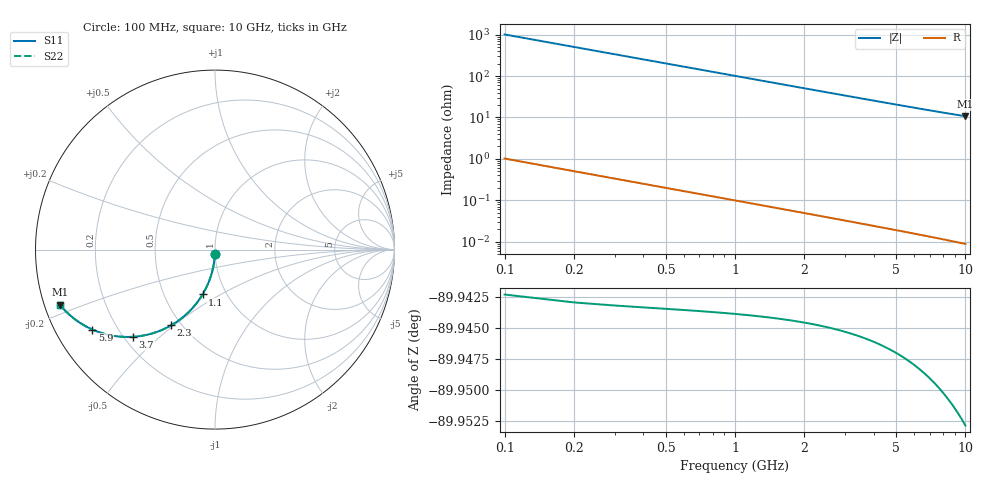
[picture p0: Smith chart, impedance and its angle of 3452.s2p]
# Hz S RI R 50.00
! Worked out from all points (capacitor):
!   100 points, 100 MHz to 10 GHz, reference 50 ohm
!   read as one part in shunt: C = 1.57 pF near 100 MHz
!   lowest |Z| = 10.7 ohm at 10 GHz (marker M1)
!   S11 on the Smith chart (normalised r, x): 100 MHz: 1.00, -0.05; 1.1 GHz: 0.77, -0.41; 2.3 GHz: 0.44, -0.49; 3.7 GHz: 0.24, -0.41; 5.9 GHz: 0.11, -0.29; 10 GHz: 0.04, -0.17
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1e8  -0.000578 -0.0244  0.9993 -0.025  0.9993 -0.025  -0.000578 -0.0244
2e8  -0.00243 -0.0487  0.9975 -0.0499  0.9975 -0.0499  -0.00243 -0.0487
3e8  -0.00548 -0.0728  0.9944 -0.0747  0.9944 -0.0747  -0.00548 -0.0728
4e8  -0.00971 -0.0966  0.9902 -0.0991  0.9902 -0.0991  -0.00971 -0.0966
5e8  -0.0151 -0.1201  0.9848 -0.1233  0.9848 -0.1233  -0.0151 -0.1201
6e8  -0.0216 -0.1432  0.9783 -0.147  0.9783 -0.147  -0.0216 -0.1432
7e8  -0.0292 -0.1657  0.9707 -0.1701  0.9707 -0.1701  -0.0292 -0.1657
9e8  -0.0473 -0.209  0.9526 -0.2147  0.9526 -0.2147  -0.0473 -0.209
1.1e9  -0.069 -0.2496  0.9309 -0.2565  0.9309 -0.2565  -0.069 -0.2496
1.4e9  -0.1071 -0.3045  0.8927 -0.3133  0.8927 -0.3133  -0.1071 -0.3045
1.8e9  -0.1655 -0.3655  0.8343 -0.377  0.8343 -0.377  -0.1655 -0.3655
2.3e9  -0.2447 -0.4222  0.7551 -0.4368  0.7551 -0.4368  -0.2447 -0.4222
2.8e9  -0.3246 -0.4588  0.6752 -0.4767  0.6752 -0.4767  -0.3246 -0.4588
3.4e9  -0.415 -0.4814  0.5847 -0.5031  0.5847 -0.5031  -0.415 -0.4814
3.7e9  -0.4567 -0.4858  0.5429 -0.5095  0.5429 -0.5095  -0.4567 -0.4858
4.4e9  -0.5436 -0.4834  0.4558 -0.5117  0.4558 -0.5117  -0.5436 -0.4834
5.1e9  -0.616 -0.4692  0.3833 -0.5023  0.3833 -0.5023  -0.616 -0.4692
5.9e9  -0.683 -0.4454  0.3162 -0.4839  0.3162 -0.4839  -0.683 -0.4454
6.7e9  -0.736 -0.418  0.2629 -0.4619  0.2629 -0.4619  -0.736 -0.418
7.5e9  -0.7782 -0.3897  0.2204 -0.4392  0.2204 -0.4392  -0.7782 -0.3897
8.4e9  -0.8156 -0.3587  0.1827 -0.4145  0.1827 -0.4145  -0.8156 -0.3587
1e10  -0.8636 -0.3077  0.134 -0.3751  0.134 -0.3751  -0.8636 -0.3077
